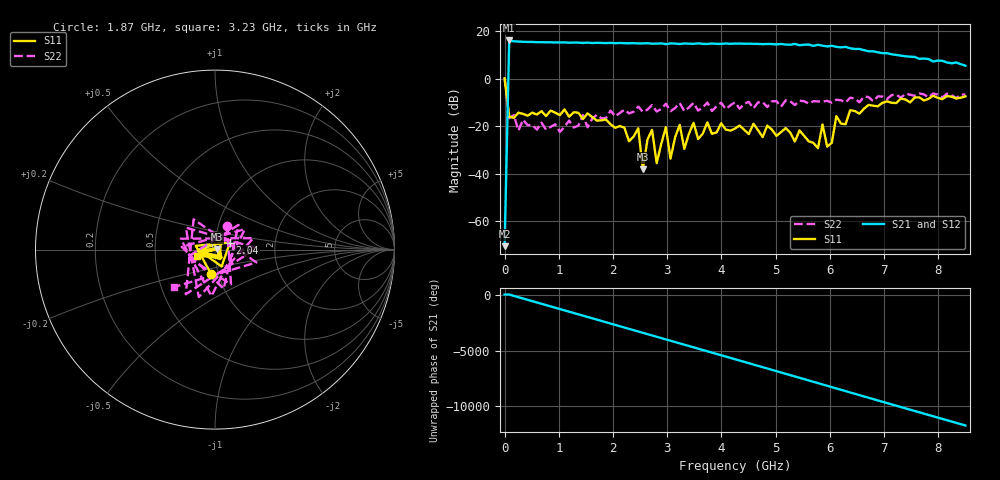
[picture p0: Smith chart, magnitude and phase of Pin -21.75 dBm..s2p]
! RsaToolbox (C) 2013 Rohde & Schwarz America
! Number of points: 101
! Number of ports: 2
! Balanced ports?: 0
# Hz S RI R 50
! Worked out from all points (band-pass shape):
!   101 points, 9 kHz to 8.5 GHz, reference 50 ohm
!   highest |S21| = 16.10 dB at 85.01 MHz (marker M1); lowest = -70.5 dB at 9 kHz (marker M2)
!   |S21| within 3 dB of the highest: 82.06 MHz to 6.333 GHz (6.251 GHz wide, 195 % of centre)
!   lowest |S11| = -38.2 dB at 2.55 GHz (marker M3), VSWR 1.02, Z = 51.2 + j0.213 ohm
!   |S11| at or under -10 dB: 53.71 MHz to 6.991 GHz (6.937 GHz wide, 197 % of centre); 7.121 GHz to 7.236 GHz (115.4 MHz wide, 1.61 % of centre)
!   |S22| runs from -22.4 to 0.2 dB; largest |S21 - S12| = 0
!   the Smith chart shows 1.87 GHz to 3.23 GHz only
!   S11 on the Smith chart (normalised r, x): 1.87 GHz: 0.92, -0.26; 2.04 GHz: 1.18, +0.09; 3.23 GHz: 0.81, -0.06
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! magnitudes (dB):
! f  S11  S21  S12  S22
! 9 kHz  0.2  -70.5  -70.5  0.2
! 85.01 MHz  -15.9  16.1  16.1  -16.6
! 1.02 GHz  -15.3  15.2  15.2  -22.4
! 1.445 GHz  -17.0  15.1  15.1  -15.3
! 1.87 GHz  -17.2  15.0  15.0  -16.6
! 2.04 GHz  -20.7  15.0  15.0  -15.9
! 2.465 GHz  -20.9  14.8  14.8  -11.7
! 2.55 GHz  -38.2  14.9  14.9  -14.0
! 2.72 GHz  -21.5  14.7  14.7  -11.1
! 2.805 GHz  -35.5  14.8  14.8  -13.8
! 2.89 GHz  -27.4  14.9  14.9  -12.7
! 2.975 GHz  -20.4  14.6  14.6  -10.5
! 3.06 GHz  -33.6  14.8  14.8  -13.7
! 3.23 GHz  -19.4  14.6  14.6  -10.2
! 3.315 GHz  -29.5  14.8  14.8  -13.6
! 3.485 GHz  -18.6  14.7  14.7  -10.2
! 3.57 GHz  -25.4  14.9  14.9  -13.4
! 4.25 GHz  -21.0  14.8  14.8  -9.9
! 5.695 GHz  -27.0  13.8  13.8  -9.5
! 6.12 GHz  -15.7  13.4  13.4  -8.8
! 7.14 GHz  -10.1  10.3  10.3  -6.9
! 8.5 GHz  -7.4  5.5  5.5  -6.7
